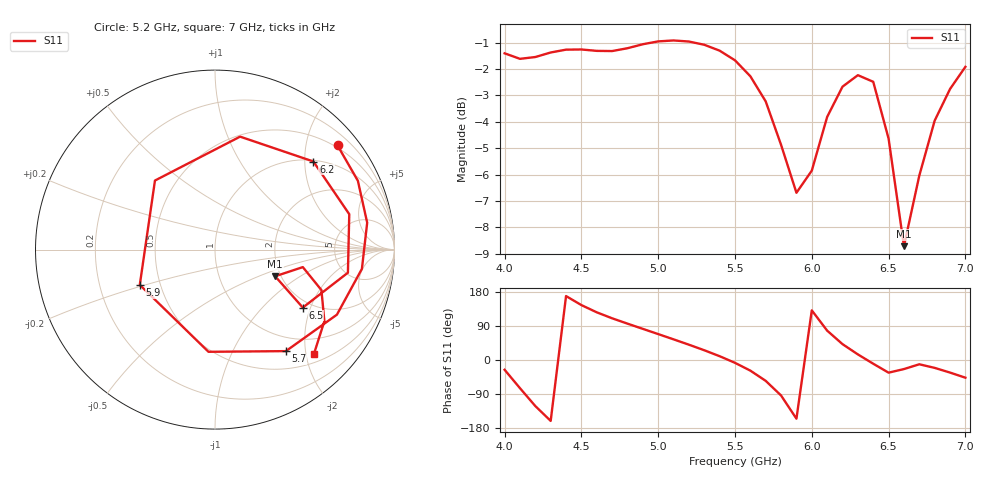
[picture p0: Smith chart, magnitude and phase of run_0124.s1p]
! Touchstone file exported from HFSS 2024.2.0
!  File:  C:/Users/wsak9/Desktop/Sim Fast/Widenad Patch/WP_AI_V1_sweep.aedt
!  Generated:  08:05:32 PM Oct 13, 2026
!  Design:  A1_model
!  Project:  WP_AI_V1_sweep
!  Setup:  Setup1
!  Solution:  Sweep
! Variables:
!  Air_gap = 2.7mm
!  Curve_Amp1 = 3.32
!  Curve_len1 = 1
!  Curve_pos = 9.835mm
!  Extra = 5.05mm
!  H_sub = 0.79mm
!  L_Patch = 15.67mm
!  L_Patch1 = 16.22mm
!  Sx = 0.35mm
!  Sy = 0.49mm
!  WS = 0.57mm
!  W_Patch = 15.1mm
!  W_Patch1 = 11.17mm
!Data is not renormalized
# GHz S MA
! Terminal data exported
! Port[1] = 1
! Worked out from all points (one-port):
!   31 points, 4 GHz to 7 GHz, reference per port
!   lowest |S11| = -8.7 dB at 6.6 GHz (marker M1), VSWR 2.16
!   |S11| at or under -10 dB: nowhere
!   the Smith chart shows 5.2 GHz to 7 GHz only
!   S11 on the Smith chart (normalised r, x): 5.2 GHz: 0.45, +2.65; 5.7 GHz: 0.76, -1.65; 5.9 GHz: 0.38, -0.19; 6.2 GHz: 1.03, +2.21; 6.5 GHz: 1.80, -1.77; 7 GHz: 0.66, -2.15
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4  0.8512 -25.8
4.1  0.8309 -74.4
4.2  0.8375 -121.6
4.3  0.8542 -160.8
4.4  0.8649 168.8
4.5  0.8655 144.9
4.6  0.8603 125.8
4.8  0.8703 95.9
5  0.8967 68.4
5.2  0.8961 40.4
5.3  0.8835 25.7
5.4  0.8611 10.0
5.5  0.8255 -7.5
5.6  0.77 -28.1
5.7  0.6898 -55.1
5.8  0.5706 -93.7
5.9  0.4628 -154.9
6  0.5098 131.0
6.1  0.6447 77.5
6.2  0.7358 41.8
6.3  0.7736 14.8
6.4  0.7516 -9.9
6.5  0.5864 -33.4
6.6  0.3665 -23.9
6.7  0.499 -11.3
6.8  0.6343 -20.8
6.9  0.7283 -33.2
7  0.8024 -46.7
